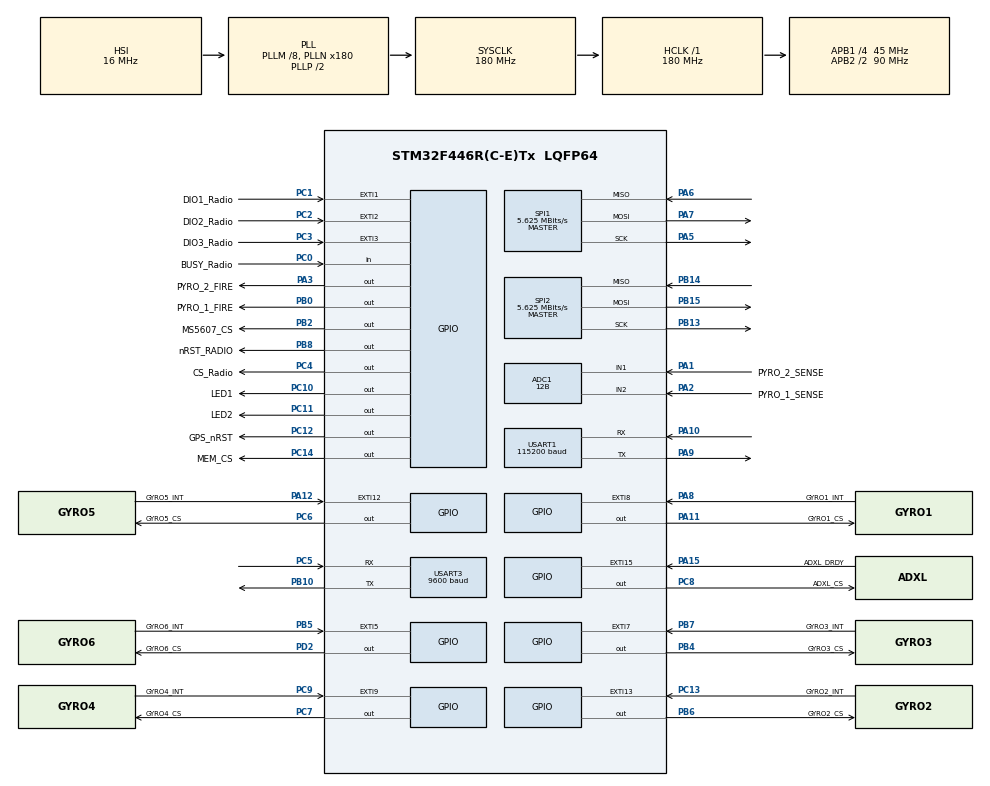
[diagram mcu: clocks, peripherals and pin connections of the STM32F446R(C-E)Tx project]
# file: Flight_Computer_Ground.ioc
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ADC1.Channel-0\#ChannelRegularConversion=ADC_CHANNEL_2
ADC1.ClockPrescaler=ADC_CLOCK_SYNC_PCLK_DIV4
ADC1.ContinuousConvMode=DISABLE
ADC1.DMAContinuousRequests=DISABLE
ADC1.DataAlign=ADC_DATAALIGN_RIGHT
ADC1.DiscontinuousConvMode=DISABLE
ADC1.EOCSelection=ADC_EOC_SINGLE_CONV
ADC1.EnableAnalogWatchDog=false
ADC1.ExternalTrigConv=ADC_SOFTWARE_START
ADC1.ExternalTrigConvEdge=ADC_EXTERNALTRIGCONVEDGE_NONE
ADC1.InjNumberOfConversion=0
ADC1.NbrOfConversion=1
ADC1.NbrOfConversionFlag=1
ADC1.Rank-0\#ChannelRegularConversion=1
ADC1.Resolution=ADC_RESOLUTION_12B
ADC1.SamplingTime-0\#ChannelRegularConversion=ADC_SAMPLETIME_3CYCLES
ADC1.ScanConvMode=DISABLE
ADC1.master=1
Mcu.Family=STM32F4
Mcu.Name=STM32F446R(C-E)Tx
Mcu.Package=LQFP64
NVIC.EXTI15_10_IRQn=true\:1\:0\:true\:false\:true\:true
NVIC.EXTI1_IRQn=true\:1\:0\:true\:false\:true\:true
NVIC.EXTI2_IRQn=true\:1\:0\:true\:false\:true\:true
NVIC.EXTI3_IRQn=true\:1\:0\:true\:false\:true\:true
NVIC.EXTI9_5_IRQn=true\:1\:0\:true\:false\:true\:true
NVIC.PriorityGroup=NVIC_PRIORITYGROUP_4
NVIC.TIM1_UP_TIM10_IRQn=true\:1\:0\:true\:false\:true\:true
NVIC.TIM6_DAC_IRQn=true\:1\:0\:true\:false\:true\:true
NVIC.TIM7_IRQn=true\:1\:0\:true\:false\:true\:true
NVIC.USART1_IRQn=true\:0\:0\:false\:false\:true\:true
NVIC.USART3_IRQn=true\:0\:0\:false\:false\:true\:true
PA1.GPIO_Label=PYRO_2_SENSE
PA1.Signal=ADCx_IN1
PA10.Mode=Asynchronous
PA10.Signal=USART1_RX
PA11.GPIO_Label=GYRO1_CS
PA11.GPIO_Speed=GPIO_SPEED_FREQ_HIGH
PA11.Signal=GPIO_Output
PA12.GPIO_Label=GYRO5_INT
PA12.Signal=GPXTI12
PA13.Mode=Trace_Asynchronous_SW
PA13.Signal=SYS_JTMS-SWDIO
PA14.Mode=Trace_Asynchronous_SW
PA14.Signal=SYS_JTCK-SWCLK
PA15.GPIO_Label=ADXL_DRDY
PA15.Signal=GPXTI15
PA2.GPIO_Label=PYRO_1_SENSE
PA2.Signal=ADCx_IN2
PA3.GPIO_Label=PYRO_2_FIRE
PA3.Signal=GPIO_Output
PA5.Mode=Full_Duplex_Master
PA5.Signal=SPI1_SCK
PA6.Mode=Full_Duplex_Master
PA6.Signal=SPI1_MISO
PA7.Mode=Full_Duplex_Master
PA7.Signal=SPI1_MOSI
PA8.GPIO_Label=GYRO1_INT
PA8.Signal=GPXTI8
PA9.Mode=Asynchronous
PA9.Signal=USART1_TX
PB0.GPIO_Label=PYRO_1_FIRE
PB0.Signal=GPIO_Output
PB10.Mode=Asynchronous
PB10.Signal=USART3_TX
PB13.Mode=Full_Duplex_Master
PB13.Signal=SPI2_SCK
PB14.Mode=Full_Duplex_Master
PB14.Signal=SPI2_MISO
PB15.Mode=Full_Duplex_Master
PB15.Signal=SPI2_MOSI
PB2.GPIO_Label=MS5607_CS
PB2.GPIO_Speed=GPIO_SPEED_FREQ_HIGH
PB2.Signal=GPIO_Output
PB3.Mode=Trace_Asynchronous_SW
PB3.Signal=SYS_JTDO-SWO
PB4.GPIO_Label=GYRO3_CS
PB4.GPIO_Speed=GPIO_SPEED_FREQ_HIGH
PB4.Signal=GPIO_Output
PB5.GPIO_Label=GYRO6_INT
PB5.Signal=GPXTI5
PB6.GPIO_Label=GYRO2_CS
PB6.GPIO_Speed=GPIO_SPEED_FREQ_HIGH
PB6.Signal=GPIO_Output
PB7.GPIO_Label=GYRO3_INT
PB7.Signal=GPXTI7
PB8.GPIO_Label=nRST_RADIO
PB8.Signal=GPIO_Output
PC0.GPIO_Label=BUSY_Radio
PC0.Signal=GPIO_Input
PC1.GPIO_Label=DIO1_Radio
PC1.Signal=GPXTI1
PC10.GPIO_Label=LED1
PC10.Signal=GPIO_Output
PC11.GPIO_Label=LED2
PC11.Signal=GPIO_Output
PC12.GPIO_Label=GPS_nRST
PC12.Signal=GPIO_Output
PC13.GPIO_Label=GYRO2_INT
PC13.Signal=GPXTI13
PC14-OSC32_IN.GPIO_Label=MEM_CS
PC14-OSC32_IN.GPIO_Speed=GPIO_SPEED_FREQ_LOW
PC14-OSC32_IN.Signal=GPIO_Output
PC2.GPIO_Label=DIO2_Radio
PC2.Signal=GPXTI2
PC3.GPIO_Label=DIO3_Radio
PC3.Signal=GPXTI3
PC4.GPIO_Label=CS_Radio
PC4.Signal=GPIO_Output
PC5.Mode=Asynchronous
PC5.Signal=USART3_RX
PC6.GPIO_Label=GYRO5_CS
PC6.GPIO_Speed=GPIO_SPEED_FREQ_HIGH
PC6.Signal=GPIO_Output
PC7.GPIO_Label=GYRO4_CS
PC7.GPIO_Speed=GPIO_SPEED_FREQ_HIGH
PC7.Signal=GPIO_Output
PC8.GPIO_Label=ADXL_CS
PC8.GPIO_Speed=GPIO_SPEED_FREQ_HIGH
PC8.Signal=GPIO_Output
PC9.GPIO_Label=GYRO4_INT
PC9.Signal=GPXTI9
PD2.GPIO_Label=GYRO6_CS
PD2.GPIO_Speed=GPIO_SPEED_FREQ_HIGH
PD2.Signal=GPIO_Output
ProjectManager.HeapSize=0x200
ProjectManager.StackSize=0x400
ProjectManager.TargetToolchain=TrueSTUDIO
RCC.AHBFreq_Value=180000000
RCC.APB1CLKDivider=RCC_HCLK_DIV4
RCC.APB1Freq_Value=45000000
RCC.APB1TimFreq_Value=90000000
RCC.APB2CLKDivider=RCC_HCLK_DIV2
RCC.APB2Freq_Value=90000000
RCC.APB2TimFreq_Value=180000000
RCC.CortexFreq_Value=180000000
RCC.HCLKFreq_Value=180000000
RCC.PLLM=8
RCC.PLLN=180
RCC.SYSCLKFreq_VALUE=180000000
RCC.SYSCLKSource=RCC_SYSCLKSOURCE_PLLCLK
RCC.USBFreq_Value=180000000
RCC.VCOOutputFreq_Value=360000000
SH.ADCx_IN1.0=ADC1_IN1,IN1
SH.ADCx_IN2.0=ADC1_IN2,IN2
SPI1.BaudRatePrescaler=SPI_BAUDRATEPRESCALER_16
SPI1.CalculateBaudRate=5.625 MBits/s
SPI1.Direction=SPI_DIRECTION_2LINES
SPI1.Mode=SPI_MODE_MASTER
SPI1.VirtualType=VM_MASTER
SPI2.BaudRatePrescaler=SPI_BAUDRATEPRESCALER_8
SPI2.CalculateBaudRate=5.625 MBits/s
SPI2.Direction=SPI_DIRECTION_2LINES
SPI2.Mode=SPI_MODE_MASTER
SPI2.VirtualType=VM_MASTER
TIM10.Period=999
TIM10.Prescaler=1799
TIM6.Period=99
TIM6.Prescaler=17999
TIM7.Period=499
TIM7.Prescaler=1799
USART1.BaudRate=115200
USART1.VirtualMode=VM_ASYNC
USART3.BaudRate=9600
USART3.VirtualMode=VM_ASYNC
VP_TIM10_VS_ClockSourceINT.Mode=Enable_Timer
VP_TIM6_VS_ClockSourceINT.Mode=Enable_Timer
VP_TIM7_VS_ClockSourceINT.Mode=Enable_Timer
board=Flight_Computer_Ground

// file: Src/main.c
/**
  ******************************************************************************
  * File Name          : main.c
  * Description        : Main program body
  ******************************************************************************
  ** This notice applies to any and all portions of this file
  * that are not between comment pairs USER CODE BEGIN and
  * USER CODE END. Other portions of this file, whether
  * inserted by the user or by software development tools
  * are owned by their respective copyright owners.
  *
  * COPYRIGHT(c) 2018 STMicroelectronics
  *
  * Redistribution and use in source and binary forms, with or without modification,
  * are permitted provided that the following conditions are met:
  *   1. Redistributions of source code must retain the above copyright notice,
  *      this list of conditions and the following disclaimer.
  *   2. Redistributions in binary form must reproduce the above copyright notice,
  *      this list of conditions and the following disclaimer in the documentation
  *      and/or other materials provided with the distribution.
  *   3. Neither the name of STMicroelectronics nor the names of its contributors
  *      may be used to endorse or promote products derived from this software
  *      without specific prior written permission.
  *
  * THIS SOFTWARE IS PROVIDED BY THE COPYRIGHT HOLDERS AND CONTRIBUTORS "AS IS"
  * AND ANY EXPRESS OR IMPLIED WARRANTIES, INCLUDING, BUT NOT LIMITED TO, THE
  * IMPLIED WARRANTIES OF MERCHANTABILITY AND FITNESS FOR A PARTICULAR PURPOSE ARE
  * DISCLAIMED. IN NO EVENT SHALL THE COPYRIGHT HOLDER OR CONTRIBUTORS BE LIABLE
  * FOR ANY DIRECT, INDIRECT, INCIDENTAL, SPECIAL, EXEMPLARY, OR CONSEQUENTIAL
  * DAMAGES (INCLUDING, BUT NOT LIMITED TO, PROCUREMENT OF SUBSTITUTE GOODS OR
  * SERVICES; LOSS OF USE, DATA, OR PROFITS; OR BUSINESS INTERRUPTION) HOWEVER
  * CAUSED AND ON ANY THEORY OF LIABILITY, WHETHER IN CONTRACT, STRICT LIABILITY,
  * OR TORT (INCLUDING NEGLIGENCE OR OTHERWISE) ARISING IN ANY WAY OUT OF THE USE
  * OF THIS SOFTWARE, EVEN IF ADVISED OF THE POSSIBILITY OF SUCH DAMAGE.
  *
  ******************************************************************************
  */

#include "main.h"
#include "stm32f4xx_hal.h"

/* USER CODE BEGIN Includes */
#include "SX1280.h"
#include "flash.h"
#include "commandline.h"

/* USER CODE END Includes */

ADC_HandleTypeDef hadc1;

SPI_HandleTypeDef hspi1;
SPI_HandleTypeDef hspi2;

TIM_HandleTypeDef htim6;
TIM_HandleTypeDef htim7;
TIM_HandleTypeDef htim10;

UART_HandleTypeDef huart1;
UART_HandleTypeDef huart3;

/* USER CODE BEGIN PV */
volatile uint8_t radio_tim;
uint8_t uart1_in;
buffer uart1_buf;
uint8_t tx_pkt_cmd;
uint8_t radio_cmd;
uint8_t pkt_rdy;

/* USER CODE END PV */

void SystemClock_Config(void);
static void MX_GPIO_Init(void);
static void MX_ADC1_Init(void);
static void MX_SPI1_Init(void);
static void MX_SPI2_Init(void);
static void MX_TIM10_Init(void);
static void MX_USART1_UART_Init(void);
static void MX_USART3_UART_Init(void);
static void MX_TIM6_Init(void);
static void MX_TIM7_Init(void);

/* USER CODE BEGIN PFP */
/* Private function prototypes -----------------------------------------------*/

/* USER CODE END PFP */

/* USER CODE BEGIN 0 */
#define LENGTH 23;
void stuff_telem(uint8_t *unstuffed, uint8_t *stuffed){
 const uint8_t *end = unstuffed + LENGTH;
 uint8_t *code_ptr = stuffed++;
 uint8_t code = 0x01;

 while (unstuffed < end){
   if (*unstuffed == '\n') {
     *code_ptr = code;
     code_ptr = stuffed++;
     code = 0x01;
   }
   else {
     *stuffed++ = *unstuffed;
     if (++code == 0xFF){
       *code_ptr = code;
       code_ptr = stuffed++;
       code = 0x01;
     }
   }
   unstuffed++;
 }
 *stuffed = '\n';

 *code_ptr = code;
 code_ptr = stuffed++;
 code = 0x01;
}
/* USER CODE END 0 */

int main(void)
{

  /* MCU Configuration----------------------------------------------------------*/

  /* Reset of all peripherals, Initializes the Flash interface and the Systick. */
  HAL_Init();

  /* Configure the system clock */
  SystemClock_Config();

  /* Initialize all configured peripherals */
  MX_GPIO_Init();
  MX_ADC1_Init();
  MX_SPI1_Init();
  MX_SPI2_Init();
  MX_TIM10_Init();
  MX_USART1_UART_Init();
  MX_USART3_UART_Init();
  MX_TIM6_Init();
  MX_TIM7_Init();

  /* USER CODE BEGIN 2 */
  //Local Vars
  uint8_t RXData[30] = {0};
  uint8_t TXData[30] = {0};
  uint8_t stuffed_pkt[25] = {0};
  uint8_t temp_pkt[5] = {0};
  uint8_t radio_tim_count = 0;
  pkt_rdy = 0;

  uint8_t line[160] = {0};
  snprintf(line, sizeof(line), "test\n\r");
  HAL_UART_Transmit(&huart1, line, strlen(line), 0xff);

  //Init CS pins to default state
  HAL_GPIO_WritePin(GYRO1_CS_GPIO_Port, GYRO1_CS_Pin, 1);
  HAL_GPIO_WritePin(GYRO2_CS_GPIO_Port, GYRO2_CS_Pin, 1);
  HAL_GPIO_WritePin(GYRO3_CS_GPIO_Port, GYRO3_CS_Pin, 1);
  HAL_GPIO_WritePin(GYRO4_CS_GPIO_Port, GYRO4_CS_Pin, 1);
  HAL_GPIO_WritePin(GYRO5_CS_GPIO_Port, GYRO5_CS_Pin, 1);
  HAL_GPIO_WritePin(GYRO6_CS_GPIO_Port, GYRO6_CS_Pin, 1);
  HAL_GPIO_WritePin(MS5607_CS_GPIO_Port, MS5607_CS_Pin, 1);
  HAL_GPIO_WritePin(ADXL_CS_GPIO_Port, ADXL_CS_Pin, 1);
  HAL_GPIO_WritePin(GPS_nRST_GPIO_Port, GPS_nRST_Pin, 1);
  HAL_GPIO_WritePin(MEM_CS_GPIO_Port, MEM_CS_Pin, 1);
  HAL_GPIO_WritePin(CS_Radio_GPIO_Port, CS_Radio_Pin, 1);

  //Cmd Interface Init
  buffer_init(&uart1_buf, UART_BUFFER_SIZE, 1);
  HAL_UART_Receive_IT(&huart1, &uart1_in, 1);

  //Init radio
  init_radio();

  HAL_Delay(100);
  radio_RXMode();

  //Start 100hz radio timer
  HAL_TIM_Base_Init(&htim7);
  HAL_TIM_Base_Start_IT(&htim7);

  while(1){
	  if(pkt_rdy){
		  //Receive packet if one comes in
		  radio_getPktStatus();

		  //Get RX Buffer Status
		  radio_getRXBufferStatus();

		  //Read buffer
		  radio_rxPacket(RXData);
		  uint8_t *pArray = &RXData[3];

		  RXData[25] = radio_getPktStatus();
		  if(RXData[3] == 0xFF){
			  //Do nothing if callsign packet
		  }
		  else{
			  stuff_telem(pArray, stuffed_pkt);
			  HAL_UART_Transmit(&huart1, stuffed_pkt, 25, 0xff);
		  }

		  //Clear IRQs
		  radio_clearInterrupt();
		  pkt_rdy = 0;

		  if(tx_pkt_cmd){
		  		  HAL_Delay(1); //Adjust to get timing right
		  		  uint8_t temp_pkt[30] = {0};
		  		  temp_pkt[2] = radio_cmd;
		  		  temp_pkt[3] = 0xFF - radio_cmd;
		  		  radio_txPacket(temp_pkt);
		  		  tx_pkt_cmd = 0;
		  		  HAL_Delay(100);
		  	  }
		  else{
			  radio_RXMode();
		  }
	  }

	  parse_buffer(&uart1_buf);
  }

//  while(1){
//	  if(radio_tim == 1){
//		  volatile uint8_t pkt_rdy = radio_checkRxPkt();
//		  if(pkt_rdy){
//			  //Read from FIFO
//			  TXData[0] = 0x7F;
//			  TXData[1] = 0x00;
//			  HAL_GPIO_WritePin(RADIO_CS_GPIO_Port, RADIO_CS_Pin, 0);
//			  HAL_SPI_TransmitReceive(&hspi1, TXData, RXData, 23, 0xff);
//			  HAL_GPIO_WritePin(RADIO_CS_GPIO_Port, RADIO_CS_Pin, 1);
//
//			  uint8_t RSSI = radio_readRSSI();
//
//			  //snprintf(line, sizeof(line), "%d %d %d %d %d %d %d %d %d %d %d %d %d %d %d %d %d %d %d\r\n\0", RXData[1], RXData[2], RXData[3], RXData[4], RXData[5], RXData[6], RXData[7], RXData[8], RXData[9], RXData[10], RXData[11], RXData[12], RXData[13], RXData[14], RXData[15], RXData[16], RXData[17], RXData[18], RSSI);
//			  //HAL_UART_Transmit(&huart1, line, strlen(line), 0xff);
//			  RXData[23] = RSSI;
//			  uint8_t *pArray = &RXData[1];
//			  stuff_telem(pArray, stuffed_pkt);
//			  HAL_UART_Transmit(&huart1, stuffed_pkt, 25, 0xff);
//
//			  if(tx_pkt_cmd){
//				  //Transmitt a command packet
//				  HAL_Delay(10); //Adjust to get timing right
//				  temp_pkt[1] = radio_cmd;
//				  temp_pkt[2] = 0xFF - radio_cmd;
//				  radio_txPacket(temp_pkt);
//				  tx_pkt_cmd = 0;
//				  HAL_Delay(150);
//			  }
//
//			  TXData[0] = 0x07 | 0x80;
//			  TXData[1] = 0x04;
//			  HAL_GPIO_WritePin(RADIO_CS_GPIO_Port, RADIO_CS_Pin, 0);
//			  HAL_SPI_TransmitReceive(&hspi1, TXData, RXData, 2, 0xff);
//			  HAL_GPIO_WritePin(RADIO_CS_GPIO_Port, RADIO_CS_Pin, 1);
//		  }
//
//		radio_tim = 0;
//		radio_tim_count += 1;
//		if(radio_tim_count >= 100){
//			radio_tim_count = 0;
//		}
//	  }
//
//	  parse_buffer(&uart1_buf);
//  }

  /* USER CODE END 2 */

  /* Infinite loop */
  while (1){

  }

}

/** System Clock Configuration
*/
void SystemClock_Config(void)
{

  RCC_OscInitTypeDef RCC_OscInitStruct;
  RCC_ClkInitTypeDef RCC_ClkInitStruct;

    /**Configure the main internal regulator output voltage
    */
  __HAL_RCC_PWR_CLK_ENABLE();

  __HAL_PWR_VOLTAGESCALING_CONFIG(PWR_REGULATOR_VOLTAGE_SCALE1);

    /**Initializes the CPU, AHB and APB busses clocks
    */
  RCC_OscInitStruct.OscillatorType = RCC_OSCILLATORTYPE_HSI;
  RCC_OscInitStruct.HSIState = RCC_HSI_ON;
  RCC_OscInitStruct.HSICalibrationValue = 16;
  RCC_OscInitStruct.PLL.PLLState = RCC_PLL_ON;
  RCC_OscInitStruct.PLL.PLLSource = RCC_PLLSOURCE_HSI;
  RCC_OscInitStruct.PLL.PLLM = 8;
  RCC_OscInitStruct.PLL.PLLN = 180;
  RCC_OscInitStruct.PLL.PLLP = RCC_PLLP_DIV2;
  RCC_OscInitStruct.PLL.PLLQ = 2;
  RCC_OscInitStruct.PLL.PLLR = 2;
  if (HAL_RCC_OscConfig(&RCC_OscInitStruct) != HAL_OK)
  {
    _Error_Handler(__FILE__, __LINE__);
  }

    /**Activate the Over-Drive mode
    */
  if (HAL_PWREx_EnableOverDrive() != HAL_OK)
  {
    _Error_Handler(__FILE__, __LINE__);
  }

    /**Initializes the CPU, AHB and APB busses clocks
    */
  RCC_ClkInitStruct.ClockType = RCC_CLOCKTYPE_HCLK|RCC_CLOCKTYPE_SYSCLK
                              |RCC_CLOCKTYPE_PCLK1|RCC_CLOCKTYPE_PCLK2;
  RCC_ClkInitStruct.SYSCLKSource = RCC_SYSCLKSOURCE_PLLCLK;
  RCC_ClkInitStruct.AHBCLKDivider = RCC_SYSCLK_DIV1;
  RCC_ClkInitStruct.APB1CLKDivider = RCC_HCLK_DIV4;
  RCC_ClkInitStruct.APB2CLKDivider = RCC_HCLK_DIV2;

  if (HAL_RCC_ClockConfig(&RCC_ClkInitStruct, FLASH_LATENCY_5) != HAL_OK)
  {
    _Error_Handler(__FILE__, __LINE__);
  }

    /**Configure the Systick interrupt time
    */
  HAL_SYSTICK_Config(HAL_RCC_GetHCLKFreq()/1000);

    /**Configure the Systick
    */
  HAL_SYSTICK_CLKSourceConfig(SYSTICK_CLKSOURCE_HCLK);

  /* SysTick_IRQn interrupt configuration */
  HAL_NVIC_SetPriority(SysTick_IRQn, 0, 0);
}

/* ADC1 init function */
static void MX_ADC1_Init(void)
{

  ADC_ChannelConfTypeDef sConfig;

    /**Configure the global features of the ADC (Clock, Resolution, Data Alignment and number of conversion)
    */
  hadc1.Instance = ADC1;
  hadc1.Init.ClockPrescaler = ADC_CLOCK_SYNC_PCLK_DIV4;
  hadc1.Init.Resolution = ADC_RESOLUTION_12B;
  hadc1.Init.ScanConvMode = DISABLE;
  hadc1.Init.ContinuousConvMode = DISABLE;
  hadc1.Init.DiscontinuousConvMode = DISABLE;
  hadc1.Init.ExternalTrigConvEdge = ADC_EXTERNALTRIGCONVEDGE_NONE;
  hadc1.Init.ExternalTrigConv = ADC_SOFTWARE_START;
  hadc1.Init.DataAlign = ADC_DATAALIGN_RIGHT;
  hadc1.Init.NbrOfConversion = 1;
  hadc1.Init.DMAContinuousRequests = DISABLE;
  hadc1.Init.EOCSelection = ADC_EOC_SINGLE_CONV;
  if (HAL_ADC_Init(&hadc1) != HAL_OK)
  {
    _Error_Handler(__FILE__, __LINE__);
  }

    /**Configure for the selected ADC regular channel its corresponding rank in the sequencer and its sample time.
    */
  sConfig.Channel = ADC_CHANNEL_2;
  sConfig.Rank = 1;
  sConfig.SamplingTime = ADC_SAMPLETIME_3CYCLES;
  if (HAL_ADC_ConfigChannel(&hadc1, &sConfig) != HAL_OK)
  {
    _Error_Handler(__FILE__, __LINE__);
  }

}

/* SPI1 init function */
static void MX_SPI1_Init(void)
{

  /* SPI1 parameter configuration*/
  hspi1.Instance = SPI1;
  hspi1.Init.Mode = SPI_MODE_MASTER;
  hspi1.Init.Direction = SPI_DIRECTION_2LINES;
  hspi1.Init.DataSize = SPI_DATASIZE_8BIT;
  hspi1.Init.CLKPolarity = SPI_POLARITY_LOW;
  hspi1.Init.CLKPhase = SPI_PHASE_1EDGE;
  hspi1.Init.NSS = SPI_NSS_SOFT;
  hspi1.Init.BaudRatePrescaler = SPI_BAUDRATEPRESCALER_16;
  hspi1.Init.FirstBit = SPI_FIRSTBIT_MSB;
  hspi1.Init.TIMode = SPI_TIMODE_DISABLE;
  hspi1.Init.CRCCalculation = SPI_CRCCALCULATION_DISABLE;
  hspi1.Init.CRCPolynomial = 10;
  if (HAL_SPI_Init(&hspi1) != HAL_OK)
  {
    _Error_Handler(__FILE__, __LINE__);
  }

}

/* SPI2 init function */
static void MX_SPI2_Init(void)
{

  /* SPI2 parameter configuration*/
  hspi2.Instance = SPI2;
  hspi2.Init.Mode = SPI_MODE_MASTER;
  hspi2.Init.Direction = SPI_DIRECTION_2LINES;
  hspi2.Init.DataSize = SPI_DATASIZE_8BIT;
  hspi2.Init.CLKPolarity = SPI_POLARITY_LOW;
  hspi2.Init.CLKPhase = SPI_PHASE_1EDGE;
  hspi2.Init.NSS = SPI_NSS_SOFT;
  hspi2.Init.BaudRatePrescaler = SPI_BAUDRATEPRESCALER_8;
  hspi2.Init.FirstBit = SPI_FIRSTBIT_MSB;
  hspi2.Init.TIMode = SPI_TIMODE_DISABLE;
  hspi2.Init.CRCCalculation = SPI_CRCCALCULATION_DISABLE;
  hspi2.Init.CRCPolynomial = 10;
  if (HAL_SPI_Init(&hspi2) != HAL_OK)
  {
    _Error_Handler(__FILE__, __LINE__);
  }

}

/* TIM6 init function */
static void MX_TIM6_Init(void)
{

  TIM_MasterConfigTypeDef sMasterConfig;

  htim6.Instance = TIM6;
  htim6.Init.Prescaler = 17999;
  htim6.Init.CounterMode = TIM_COUNTERMODE_UP;
  htim6.Init.Period = 99;
  if (HAL_TIM_Base_Init(&htim6) != HAL_OK)
  {
    _Error_Handler(__FILE__, __LINE__);
  }

  sMasterConfig.MasterOutputTrigger = TIM_TRGO_RESET;
  sMasterConfig.MasterSlaveMode = TIM_MASTERSLAVEMODE_DISABLE;
  if (HAL_TIMEx_MasterConfigSynchronization(&htim6, &sMasterConfig) != HAL_OK)
  {
    _Error_Handler(__FILE__, __LINE__);
  }

}

/* TIM7 init function */
static void MX_TIM7_Init(void)
{

  TIM_MasterConfigTypeDef sMasterConfig;

  htim7.Instance = TIM7;
  htim7.Init.Prescaler = 1799;
  htim7.Init.CounterMode = TIM_COUNTERMODE_UP;
  htim7.Init.Period = 499;
  if (HAL_TIM_Base_Init(&htim7) != HAL_OK)
  {
    _Error_Handler(__FILE__, __LINE__);
  }

  sMasterConfig.MasterOutputTrigger = TIM_TRGO_RESET;
  sMasterConfig.MasterSlaveMode = TIM_MASTERSLAVEMODE_DISABLE;
  if (HAL_TIMEx_MasterConfigSynchronization(&htim7, &sMasterConfig) != HAL_OK)
  {
    _Error_Handler(__FILE__, __LINE__);
  }

}

/* TIM10 init function */
static void MX_TIM10_Init(void)
{

  htim10.Instance = TIM10;
  htim10.Init.Prescaler = 1799;
  htim10.Init.CounterMode = TIM_COUNTERMODE_UP;
  htim10.Init.Period = 999;
  htim10.Init.ClockDivision = TIM_CLOCKDIVISION_DIV1;
  if (HAL_TIM_Base_Init(&htim10) != HAL_OK)
  {
    _Error_Handler(__FILE__, __LINE__);
  }

}

/* USART1 init function */
static void MX_USART1_UART_Init(void)
{

  huart1.Instance = USART1;
  huart1.Init.BaudRate = 115200;
  huart1.Init.WordLength = UART_WORDLENGTH_8B;
  huart1.Init.StopBits = UART_STOPBITS_1;
  huart1.Init.Parity = UART_PARITY_NONE;
  huart1.Init.Mode = UART_MODE_TX_RX;
  huart1.Init.HwFlowCtl = UART_HWCONTROL_NONE;
  huart1.Init.OverSampling = UART_OVERSAMPLING_16;
  if (HAL_UART_Init(&huart1) != HAL_OK)
  {
    _Error_Handler(__FILE__, __LINE__);
  }

}

/* USART3 init function */
static void MX_USART3_UART_Init(void)
{

  huart3.Instance = USART3;
  huart3.Init.BaudRate = 9600;
  huart3.Init.WordLength = UART_WORDLENGTH_8B;
  huart3.Init.StopBits = UART_STOPBITS_1;
  huart3.Init.Parity = UART_PARITY_NONE;
  huart3.Init.Mode = UART_MODE_TX_RX;
  huart3.Init.HwFlowCtl = UART_HWCONTROL_NONE;
  huart3.Init.OverSampling = UART_OVERSAMPLING_16;
  if (HAL_UART_Init(&huart3) != HAL_OK)
  {
    _Error_Handler(__FILE__, __LINE__);
  }

}

/** Configure pins as
        * Analog
        * Input
        * Output
        * EVENT_OUT
        * EXTI
*/
static void MX_GPIO_Init(void)
{

  GPIO_InitTypeDef GPIO_InitStruct;

  /* GPIO Ports Clock Enable */
  __HAL_RCC_GPIOC_CLK_ENABLE();
  __HAL_RCC_GPIOA_CLK_ENABLE();
  __HAL_RCC_GPIOB_CLK_ENABLE();
  __HAL_RCC_GPIOD_CLK_ENABLE();

  /*Configure GPIO pin Output Level */
  HAL_GPIO_WritePin(GPIOC, MEM_CS_Pin|CS_Radio_Pin|GYRO5_CS_Pin|GYRO4_CS_Pin
                          |ADXL_CS_Pin|LED1_Pin|LED2_Pin|GPS_nRST_Pin, GPIO_PIN_RESET);

  /*Configure GPIO pin Output Level */
  HAL_GPIO_WritePin(GPIOA, PYRO_2_FIRE_Pin|GYRO1_CS_Pin, GPIO_PIN_RESET);

  /*Configure GPIO pin Output Level */
  HAL_GPIO_WritePin(GPIOB, PYRO_1_FIRE_Pin|MS5607_CS_Pin|GYRO3_CS_Pin|GYRO2_CS_Pin
                          |nRST_RADIO_Pin, GPIO_PIN_RESET);

  /*Configure GPIO pin Output Level */
  HAL_GPIO_WritePin(GYRO6_CS_GPIO_Port, GYRO6_CS_Pin, GPIO_PIN_RESET);

  /*Configure GPIO pins : GYRO2_INT_Pin DIO1_Radio_Pin DIO2_Radio_Pin DIO3_Radio_Pin
                           GYRO4_INT_Pin */
  GPIO_InitStruct.Pin = GYRO2_INT_Pin|DIO1_Radio_Pin|DIO2_Radio_Pin|DIO3_Radio_Pin
                          |GYRO4_INT_Pin;
  GPIO_InitStruct.Mode = GPIO_MODE_IT_RISING;
  GPIO_InitStruct.Pull = GPIO_NOPULL;
  HAL_GPIO_Init(GPIOC, &GPIO_InitStruct);

  /*Configure GPIO pins : MEM_CS_Pin CS_Radio_Pin LED1_Pin LED2_Pin
                           GPS_nRST_Pin */
  GPIO_InitStruct.Pin = MEM_CS_Pin|CS_Radio_Pin|LED1_Pin|LED2_Pin
                          |GPS_nRST_Pin;
  GPIO_InitStruct.Mode = GPIO_MODE_OUTPUT_PP;
  GPIO_InitStruct.Pull = GPIO_NOPULL;
  GPIO_InitStruct.Speed = GPIO_SPEED_FREQ_LOW;
  HAL_GPIO_Init(GPIOC, &GPIO_InitStruct);

  /*Configure GPIO pin : BUSY_Radio_Pin */
  GPIO_InitStruct.Pin = BUSY_Radio_Pin;
  GPIO_InitStruct.Mode = GPIO_MODE_INPUT;
  GPIO_InitStruct.Pull = GPIO_NOPULL;
  HAL_GPIO_Init(BUSY_Radio_GPIO_Port, &GPIO_InitStruct);

  /*Configure GPIO pin : PYRO_2_FIRE_Pin */
  GPIO_InitStruct.Pin = PYRO_2_FIRE_Pin;
  GPIO_InitStruct.Mode = GPIO_MODE_OUTPUT_PP;
  GPIO_InitStruct.Pull = GPIO_NOPULL;
  GPIO_InitStruct.Speed = GPIO_SPEED_FREQ_LOW;
  HAL_GPIO_Init(PYRO_2_FIRE_GPIO_Port, &GPIO_InitStruct);

  /*Configure GPIO pins : PYRO_1_FIRE_Pin nRST_RADIO_Pin */
  GPIO_InitStruct.Pin = PYRO_1_FIRE_Pin|nRST_RADIO_Pin;
  GPIO_InitStruct.Mode = GPIO_MODE_OUTPUT_PP;
  GPIO_InitStruct.Pull = GPIO_NOPULL;
  GPIO_InitStruct.Speed = GPIO_SPEED_FREQ_LOW;
  HAL_GPIO_Init(GPIOB, &GPIO_InitStruct);

  /*Configure GPIO pins : MS5607_CS_Pin GYRO3_CS_Pin GYRO2_CS_Pin */
  GPIO_InitStruct.Pin = MS5607_CS_Pin|GYRO3_CS_Pin|GYRO2_CS_Pin;
  GPIO_InitStruct.Mode = GPIO_MODE_OUTPUT_PP;
  GPIO_InitStruct.Pull = GPIO_NOPULL;
  GPIO_InitStruct.Speed = GPIO_SPEED_FREQ_HIGH;
  HAL_GPIO_Init(GPIOB, &GPIO_InitStruct);

  /*Configure GPIO pins : GYRO5_CS_Pin GYRO4_CS_Pin ADXL_CS_Pin */
  GPIO_InitStruct.Pin = GYRO5_CS_Pin|GYRO4_CS_Pin|ADXL_CS_Pin;
  GPIO_InitStruct.Mode = GPIO_MODE_OUTPUT_PP;
  GPIO_InitStruct.Pull = GPIO_NOPULL;
  GPIO_InitStruct.Speed = GPIO_SPEED_FREQ_HIGH;
  HAL_GPIO_Init(GPIOC, &GPIO_InitStruct);

  /*Configure GPIO pins : GYRO1_INT_Pin GYRO5_INT_Pin ADXL_DRDY_Pin */
  GPIO_InitStruct.Pin = GYRO1_INT_Pin|GYRO5_INT_Pin|ADXL_DRDY_Pin;
  GPIO_InitStruct.Mode = GPIO_MODE_IT_RISING;
  GPIO_InitStruct.Pull = GPIO_NOPULL;
  HAL_GPIO_Init(GPIOA, &GPIO_InitStruct);

  /*Configure GPIO pin : GYRO1_CS_Pin */
  GPIO_InitStruct.Pin = GYRO1_CS_Pin;
  GPIO_InitStruct.Mode = GPIO_MODE_OUTPUT_PP;
  GPIO_InitStruct.Pull = GPIO_NOPULL;
  GPIO_InitStruct.Speed = GPIO_SPEED_FREQ_HIGH;
  HAL_GPIO_Init(GYRO1_CS_GPIO_Port, &GPIO_InitStruct);

  /*Configure GPIO pin : GYRO6_CS_Pin */
  GPIO_InitStruct.Pin = GYRO6_CS_Pin;
  GPIO_InitStruct.Mode = GPIO_MODE_OUTPUT_PP;
  GPIO_InitStruct.Pull = GPIO_NOPULL;
  GPIO_InitStruct.Speed = GPIO_SPEED_FREQ_HIGH;
  HAL_GPIO_Init(GYRO6_CS_GPIO_Port, &GPIO_InitStruct);

  /*Configure GPIO pins : GYRO6_INT_Pin GYRO3_INT_Pin */
  GPIO_InitStruct.Pin = GYRO6_INT_Pin|GYRO3_INT_Pin;
  GPIO_InitStruct.Mode = GPIO_MODE_IT_RISING;
  GPIO_InitStruct.Pull = GPIO_NOPULL;
  HAL_GPIO_Init(GPIOB, &GPIO_InitStruct);

  /* EXTI interrupt init*/
  HAL_NVIC_SetPriority(EXTI1_IRQn, 1, 0);
  HAL_NVIC_EnableIRQ(EXTI1_IRQn);

  HAL_NVIC_SetPriority(EXTI2_IRQn, 1, 0);
  HAL_NVIC_EnableIRQ(EXTI2_IRQn);

  HAL_NVIC_SetPriority(EXTI3_IRQn, 1, 0);
  HAL_NVIC_EnableIRQ(EXTI3_IRQn);

  HAL_NVIC_SetPriority(EXTI9_5_IRQn, 1, 0);
  HAL_NVIC_EnableIRQ(EXTI9_5_IRQn);

  HAL_NVIC_SetPriority(EXTI15_10_IRQn, 1, 0);
  HAL_NVIC_EnableIRQ(EXTI15_10_IRQn);

}

void _Error_Handler(char * file, int line)
{
  while(1)
  {
  }
}

/************************ (C) COPYRIGHT STMicroelectronics *****END OF FILE****/
